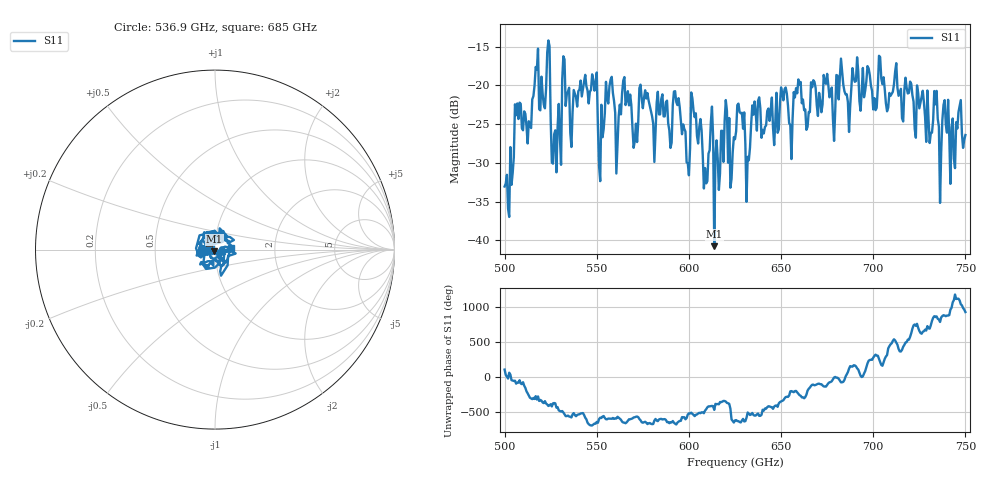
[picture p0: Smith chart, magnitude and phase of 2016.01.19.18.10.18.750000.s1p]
!Created with skrf (http://scikit-rf.org).
# GHz S RI R 50.0
!freq ReS11 ImS11
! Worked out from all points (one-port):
!   401 points, 500 GHz to 750 GHz, reference 50 ohm
!   lowest |S11| = -40.7 dB at 613.8 GHz (marker M1), VSWR 1.02, Z = 49.7 - j0.854 ohm
!   |S11| at or under -10 dB: start of sweep to end of sweep
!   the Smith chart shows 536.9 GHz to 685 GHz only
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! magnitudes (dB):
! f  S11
! 500 GHz  -33.0
! 503.1 GHz  -27.9
! 506.9 GHz  -22.3
! 513.1 GHz  -24.6
! 516.9 GHz  -17.6
! 523.8 GHz  -14.2
! 526.9 GHz  -26.3
! 531.2 GHz  -19.2
! 548.8 GHz  -20.7
! 552.5 GHz  -22.5
! 556.2 GHz  -22.3
! 562.5 GHz  -22.5
! 593.8 GHz  -22.5
! 599.4 GHz  -30.0
! 602.5 GHz  -23.2
! 608.8 GHz  -30.7
! 613.8 GHz  -40.7
! 625 GHz  -26.9
! 627.5 GHz  -23.4
! 631.9 GHz  -29.2
! 635 GHz  -23.8
! 656.2 GHz  -24.3
! 659.4 GHz  -19.2
! 664.4 GHz  -25.3
! 667.5 GHz  -19.3
! 687.5 GHz  -22.6
! 718.8 GHz  -21.0
! 750 GHz  -26.4
